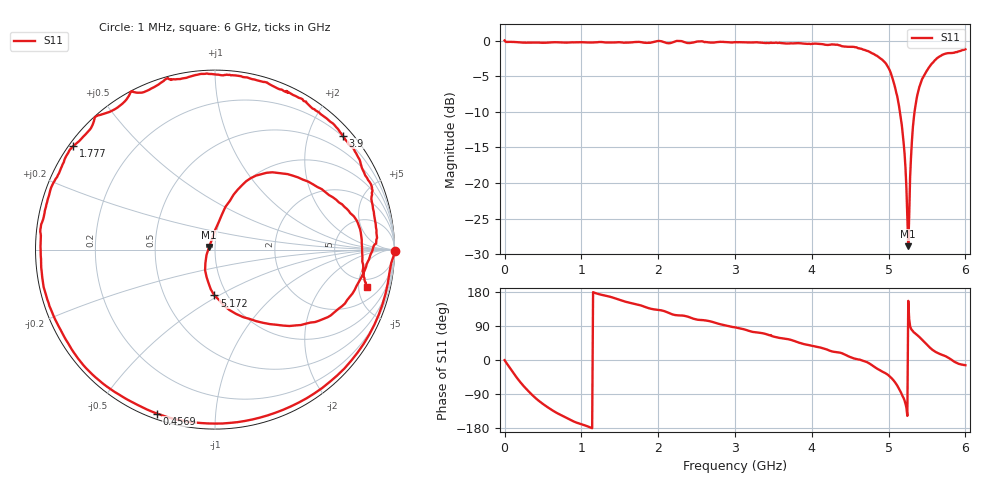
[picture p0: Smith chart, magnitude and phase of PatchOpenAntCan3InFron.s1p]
# Hz S RI R 50
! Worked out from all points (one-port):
!   501 points, 1 MHz to 6 GHz, reference 50 ohm
!   lowest |S11| = -28.9 dB at 5.256 GHz (marker M1), VSWR 1.07, Z = 46.8 + j1.37 ohm
!   |S11| at or under -10 dB: 5.147 GHz to 5.338 GHz (191 MHz wide, 3.64 % of centre)
!   S11 on the Smith chart (normalised r, x): 1 MHz: open; 456.9 MHz: 0.02, -0.71; 1.777 GHz: 0.01, +0.33; 3.9 GHz: 0.19, +2.61; 5.172 GHz: 0.87, -0.48; 6 GHz: 3.57, -6.18
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1000000  1.004 -0.0089
9.6984e7  0.8601 -0.4724
2.16964e8  0.4661 -0.8524
3.24946e8  0.0819 -0.9657
4.56924e8  -0.3219 -0.9142
6.12898e8  -0.6454 -0.7289
7.56874e8  -0.8195 -0.5198
1.044826e9  -0.9648 -0.1291
1.50075e9  -0.9061 0.3608
1.776704e9  -0.7897 0.5758
2.256624e9  -0.466 0.8809
3.0005e9  0.0644 0.975
3.756374e9  0.5991 0.7473
3.90035e9  0.7109 0.6356
4.368272e9  0.8753 0.3074
4.50025e9  0.8967 0.1236
4.728212e9  0.8413 -0.0969
4.896184e9  0.6592 -0.3543
5.052158e9  0.3431 -0.4189
5.172138e9  -0.00397 -0.2554
5.208132e9  -0.0468 -0.1536
5.244126e9  -0.0474 -0.0302
5.256124e9  -0.0329 0.0146
5.268122e9  -0.0179 0.0547
5.328112e9  0.0835 0.2724
5.424096e9  0.2877 0.4281
5.652058e9  0.7338 0.2274
6e9  0.8453 -0.2091
